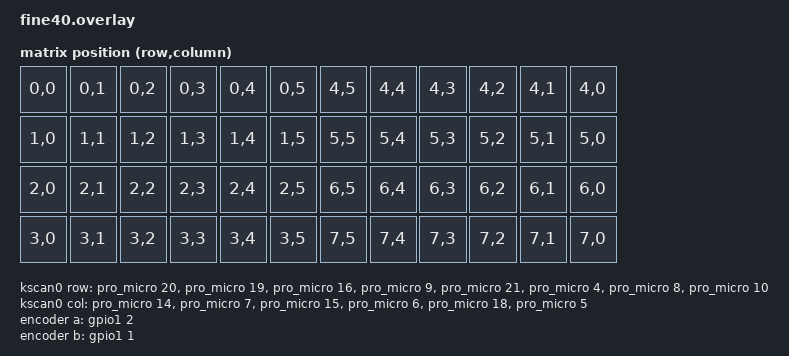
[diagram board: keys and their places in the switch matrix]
#include <dt-bindings/zmk/matrix_transform.h>
#include <physical_layouts.dtsi>

/ {
    chosen {
        zmk,kscan = &kscan0;
        zmk,physical-layout = &fine40_layout0;
        zephyr,display = &oled;
    };

default_transform: keymap_transform_0 {
		compatible = "zmk,matrix-transform";
		columns = <6>;
		rows = <8>;
		map = <
			RC(0,0) RC(0,1) RC(0,2) RC(0,3) RC(0,4) RC(0,5) RC(4,5) RC(4,4) RC(4,3) RC(4,2) RC(4,1) RC(4,0)
			RC(1,0) RC(1,1) RC(1,2) RC(1,3) RC(1,4) RC(1,5) RC(5,5) RC(5,4) RC(5,3) RC(5,2) RC(5,1) RC(5,0)
			RC(2,0) RC(2,1) RC(2,2) RC(2,3) RC(2,4) RC(2,5) RC(6,5) RC(6,4) RC(6,3) RC(6,2) RC(6,1) RC(6,0)
			RC(3,0) RC(3,1) RC(3,2) RC(3,3) RC(3,4) RC(3,5) RC(7,5) RC(7,4) RC(7,3) RC(7,2) RC(7,1) RC(7,0)
		>;
	};

    kscan0: kscan_0 {
        compatible = "zmk,kscan-gpio-matrix";
        label = "KSCAN";
        diode-direction = "col2row";

        col-gpios
            = <&pro_micro 14 GPIO_ACTIVE_HIGH>
            , <&pro_micro 7 GPIO_ACTIVE_HIGH>
            , <&pro_micro 15 GPIO_ACTIVE_HIGH>
			, <&pro_micro 6 GPIO_ACTIVE_HIGH>
			, <&pro_micro 18 GPIO_ACTIVE_HIGH>
			, <&pro_micro 5 GPIO_ACTIVE_HIGH>
            ;

        row-gpios
            = <&pro_micro 20 (GPIO_ACTIVE_HIGH | GPIO_PULL_DOWN)>
            , <&pro_micro 19 (GPIO_ACTIVE_HIGH | GPIO_PULL_DOWN)>
            , <&pro_micro 16 (GPIO_ACTIVE_HIGH | GPIO_PULL_DOWN)>
			, <&pro_micro 9 (GPIO_ACTIVE_HIGH | GPIO_PULL_DOWN)>
			, <&pro_micro 21 (GPIO_ACTIVE_HIGH | GPIO_PULL_DOWN)>
			, <&pro_micro 4 (GPIO_ACTIVE_HIGH | GPIO_PULL_DOWN)>
			, <&pro_micro 8 (GPIO_ACTIVE_HIGH | GPIO_PULL_DOWN)>
			, <&pro_micro 10 (GPIO_ACTIVE_HIGH | GPIO_PULL_DOWN)>
            ;
    };

    fine40_layout0: fine40_layout_0 {
        compatible = "zmk,physical-layout";
        display-name = "fine!40";

        transform = <&default_transform>;
        kscan = <&kscan0>;

        keys
            = <&key_physical_attrs 100 100    0    0   0    0   0>
            , <&key_physical_attrs 100 100  100    0   0    0   0>
            , <&key_physical_attrs 100 100  200    0   0    0   0>
            , <&key_physical_attrs 100 100  300    0   0    0   0>
            , <&key_physical_attrs 100 100  400    0   0    0   0>
            , <&key_physical_attrs 100 100  500    0   0    0   0>
            , <&key_physical_attrs 100 100  600    0   0    0   0>
            , <&key_physical_attrs 100 100  700    0   0    0   0>
            , <&key_physical_attrs 100 100  800    0   0    0   0>
            , <&key_physical_attrs 100 100  900    0   0    0   0>
            , <&key_physical_attrs 100 100 1000    0   0    0   0>
            , <&key_physical_attrs 100 100 1100    0   0    0   0>

            , <&key_physical_attrs 100 100    0  100   0    0   0>
            , <&key_physical_attrs 100 100  100  100   0    0   0>
            , <&key_physical_attrs 100 100  200  100   0    0   0>
            , <&key_physical_attrs 100 100  300  100   0    0   0>
            , <&key_physical_attrs 100 100  400  100   0    0   0>
            , <&key_physical_attrs 100 100  500  100   0    0   0>
            , <&key_physical_attrs 100 100  600  100   0    0   0>
            , <&key_physical_attrs 100 100  700  100   0    0   0>
            , <&key_physical_attrs 100 100  800  100   0    0   0>
            , <&key_physical_attrs 100 100  900  100   0    0   0>
            , <&key_physical_attrs 100 100 1000  100   0    0   0>
            , <&key_physical_attrs 100 100 1100  100   0    0   0>

            , <&key_physical_attrs 100 100    0  200   0    0   0>
            , <&key_physical_attrs 100 100  100  200   0    0   0>
            , <&key_physical_attrs 100 100  200  200   0    0   0>
            , <&key_physical_attrs 100 100  300  200   0    0   0>
            , <&key_physical_attrs 100 100  400  200   0    0   0>
            , <&key_physical_attrs 100 100  500  200   0    0   0>
            , <&key_physical_attrs 100 100  600  200   0    0   0>
            , <&key_physical_attrs 100 100  700  200   0    0   0>
            , <&key_physical_attrs 100 100  800  200   0    0   0>
            , <&key_physical_attrs 100 100  900  200   0    0   0>
            , <&key_physical_attrs 100 100 1000  200   0    0   0>
            , <&key_physical_attrs 100 100 1100  200   0    0   0>

            , <&key_physical_attrs 100 100    0  300   0    0   0>
            , <&key_physical_attrs 100 100  100  300   0    0   0>
            , <&key_physical_attrs 100 100  200  300   0    0   0>
            , <&key_physical_attrs 100 100  300  300   0    0   0>
            , <&key_physical_attrs 100 100  400  300   0    0   0>
            , <&key_physical_attrs 100 100  500  300   0    0   0>
            , <&key_physical_attrs 100 100  600  300   0    0   0>
            , <&key_physical_attrs 100 100  700  300   0    0   0>
            , <&key_physical_attrs 100 100  800  300   0    0   0>
            , <&key_physical_attrs 100 100  900  300   0    0   0>
            , <&key_physical_attrs 100 100 1000  300   0    0   0>
            , <&key_physical_attrs 100 100 1100  300   0    0   0>
            ;
    };

	encoder: encoder {
		compatible = "alps,ec11";
		label = "ENCODER";
		a-gpios = <&gpio1 2 (GPIO_ACTIVE_HIGH | GPIO_PULL_UP)>;
		b-gpios = <&gpio1 1 (GPIO_ACTIVE_HIGH | GPIO_PULL_UP)>;
		resolution = <4>;
		status = "okay";
	};

	sensors {
		compatible = "zmk,keymap-sensors";
		sensors = <&encoder>;
	};
	

};

/*
 * Force the nice!nano's onboard blue LED (P0.15) off.
 *
 * ZMK never drives this pin: nice_nano.dtsi declares the LED node but no "led0"
 * alias, and ZMK core has no LED status feature at all. So the pin is normally
 * left in its reset state — an input — and a floating input is the one way the
 * LED could light without anything asking it to. This hog clamps it low at
 * boot, which is the only lever firmware has over that LED.
 *
 * P0.15 is not routed to the Pro Micro header (it is the onboard LED only), so
 * driving it is safe and cannot clash with the matrix.
 *
 * If the LED still blinks with this in place, it is not P0.15, and therefore
 * not something any firmware change can reach — see the charge LED note.
 */
&gpio0 {
	blue_led_off {
		gpio-hog;
		gpios = <15 GPIO_ACTIVE_HIGH>;
		output-low;
	};
};

&pro_micro_i2c {
	status = "okay";

	/*
	 * 400kHz (I2C fast mode). A full 128x32 mono frame is 512 bytes, which
	 * needs ~50ms at the default 100kHz and caps the ripple animation at
	 * ~20fps. At 400kHz it drops to ~12ms, leaving plenty of headroom.
	 */
	clock-frequency = <400000>;

	oled: ssd1306@3c {
		compatible = "solomon,ssd1306fb";
		reg = <0x3c>;
		label = "DISPLAY";
		/*
		 * 0.91" panel: 128x32, not 128x64. This was previously declared as
		 * 64 rows, so everything was rendered into twice the rows that
		 * physically exist and came out squashed vertically — which is what
		 * made the stock ZMK status screen look stretched too.
		 *
		 * "com-sequential" is required on 32-row panels: they wire the COM
		 * pins sequentially rather than alternating, and without it the
		 * image renders interlaced.
		 */
		width = <128>;
		height = <32>;
		segment-offset = <0>;
		page-offset = <0>;
		display-offset = <0>;
		multiplex-ratio = <31>;
		com-sequential;
		prechargep = <0x22>;

		/*
		 * "inversion-on" was removed deliberately. It existed to make ZMK's
		 * stock status screen render white-on-black, but the ripple widget
		 * picks its own colours and flips them on Caps Lock, so a panel-level
		 * inversion here would just fight the C code. Polarity now has exactly
		 * one switch: CONFIG_FINE40_RIPPLE_INVERT.
		 */
	};
};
